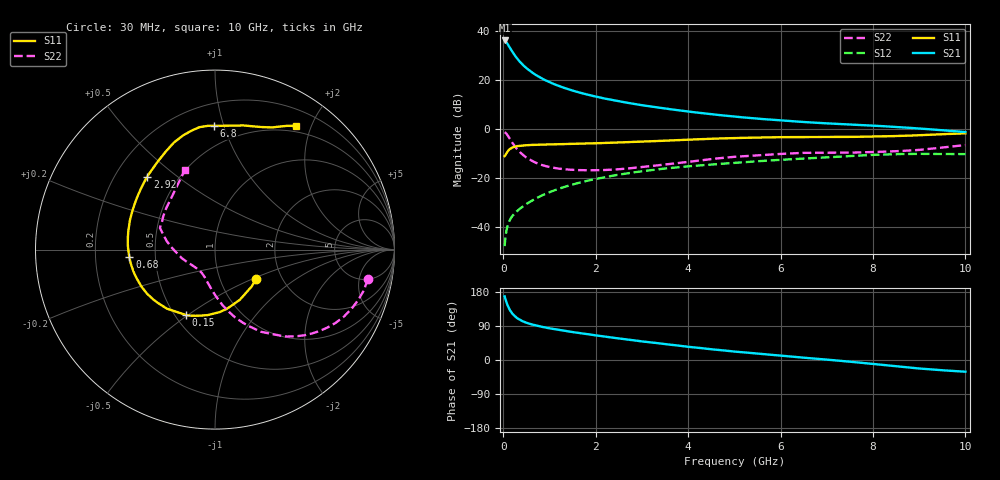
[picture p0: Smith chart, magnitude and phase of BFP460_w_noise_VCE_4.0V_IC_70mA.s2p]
! (c) 2016  Infineon Technologies AG, Munich
! Infineon Technologies  Discrete & RF Semiconductors
! BFP460
! VCE =  4.0 V,  IC =  70 mA
! Common Emitter S-Parameters:  Jan 2016
# GHz  S  MA  R  50
!  f  S11  S21  S12  S22
! GHz  MAG  ANG  MAG  ANG  MAG  ANG  MAG  ANG
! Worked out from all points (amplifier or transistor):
!   229 points, 30 MHz to 10 GHz, reference 50 ohm
!   highest |S21| = 36.2 dB at 30 MHz (marker M1)
!   |S21| within 3 dB of that: start of sweep to 145.2 MHz
!   unconditionally stable (mu >= 1): 913.9 MHz to 7.275 GHz
!   at 280 MHz: K = 0.69, MSG = 31.6 dB, |S12| = -33.8 dB
!   at 1.78 GHz: K = 1.05, MAG = 16.4 dB, |S12| = -21.2 dB
!   at 10 GHz: K = 0.96, MSG = 4.5 dB, |S12| = -10.2 dB
!   lowest NFmin = 2.03 dB at 3.5 GHz
!   S11 on the Smith chart (normalised r, x): 30 MHz: 1.49, -0.52; 150 MHz: 0.57, -0.49; 680 MHz: 0.35, -0.04; 2.92 GHz: 0.34, +0.39; 6.8 GHz: 0.35, +0.93; 10 GHz: 0.42, +1.77
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0.03  0.2818 -35.1  64.72 167.9  0.0041 84.3  0.8673 -10.9
0.05  0.2973 -54.8  62.14 159.6  0.0063 78.4  0.8459 -19.4
0.065  0.3168 -68.1  60.05 154.1  0.008 74.6  0.8187 -25.5
0.09  0.3493 -85.8  55.75 145.7  0.0104 69.8  0.7623 -34.7
0.12  0.3757 -101.8  50.2 137.3  0.0126 65.6  0.6898 -43.8
0.15  0.3988 -114.2  44.97 130.4  0.0145 63.2  0.6204 -51.3
0.2  0.4243 -129.1  37.74 121.7  0.017 61.2  0.5235 -60.9
0.24  0.4362 -137.4  33.19 116.8  0.0188 60.7  0.4634 -66.4
0.3  0.4514 -147.1  27.76 110.4  0.0213 60.7  0.392 -73.7
0.34  0.4567 -151.9  25.02 107.4  0.023 61.4  0.3567 -77.2
0.45  0.4674 -161.9  19.46 100.7  0.0275 62.8  0.2865 -85.4
0.6  0.4764 -171.1  14.89 94.4  0.0339 64.6  0.231 -93.5
0.68  0.479 -174.9  13.26 91.9  0.0374 65.2  0.2121 -96.9
0.9  0.4866 176.9  10.1 85.9  0.0472 66.0  0.1782 -105.2
1.1  0.4912 170.7  8.313 81.5  0.0562 65.9  0.1621 -111.3
1.7  0.5066 156.2  5.433 70.2  0.0832 63.2  0.1458 -125.3
2.92  0.5546 132.8  3.177 50.4  0.1352 53.4  0.1659 -153.6
3.4  0.5773 125.1  2.723 43.5  0.1535 48.9  0.1856 -163.4
5.1  0.6637 104.6  1.773 21.3  0.2086 35.4  0.2767 169.1
6.8  0.6895 90.4  1.349 3.1  0.2602 22.5  0.33 157.6
8.4  0.721 71.9  1.126 -15.4  0.308 8.0  0.3524 141.8
10  0.8227 56.9  0.874 -30.9  0.3098 -4.8  0.4746 110.6
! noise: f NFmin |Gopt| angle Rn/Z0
0.45  2.18  0.41  -169  0.13
0.9  2.25  0.38  -159  0.14
1.9  2.41  0.49  -138  0.2
3.5  2.03  0.78  -114  0.43
